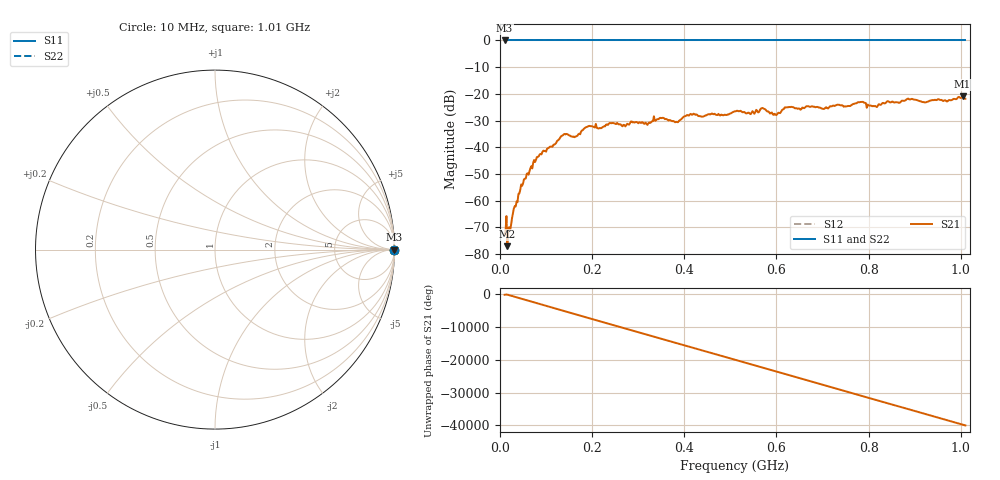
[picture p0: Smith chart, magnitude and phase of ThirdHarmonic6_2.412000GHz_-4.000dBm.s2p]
! 8/17/2025 4:03:05 AM
! C:\ANRITSUVNA\TEMP\TEMP.S2P
! CHANNEL.1
! TR.MEASUREMENT
! RAW.DATA
! RF.CORRECTION.OFF
! AVERAGING.OFF
! IF.BANDWIDTH: 5KHZ
! SWEEPTYPE:  FREQ.SWEEP(Linear)
! Reference Plane Port Info
! PORT:  PORT1  PORT2
! DISTANCE:  0  m  0  m
! TIME:  0  s  0  s
! PHASE.OFFSET:  0  deg.  0  deg.
! LOSS:  0  dB  0  dB
! REF.LOSS:  0  dB  0  dB
! REF.FREQ:  0  Hz  0  Hz
! Power Info
! POWER:  -20  dBm  -20  dBm
! EFF.POWER:  -20  dBm  -20  dBm
! SOURCE.ATTEN:  0  dB  0  dB
! TEST.ATTEN:  0  dB  0  dB
# GHZ S RI R 50.0
! FREQ.GHZ  S11RE  S11IM  S21RE  S21IM  S12RE  S12IM  S22RE  S22IM
!; PortSelection: Port_12
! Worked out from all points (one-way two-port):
!   501 points, 10 MHz to 1.01 GHz, reference 50 ohm
!   highest |S21| = -20.94 dB at 1.004 GHz (marker M1); lowest = -77.1 dB at 16 MHz (marker M2)
!   lowest |S11| = 0.0 dB at 10 MHz (marker M3)
!   |S11| at or under -10 dB: nowhere
!   |S22| runs from 0.0 to 0.0 dB; largest |S21 - S12| = 1.1
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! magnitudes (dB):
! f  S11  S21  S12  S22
! 10 MHz  0.0  -72.8  0.0  0.0
! 16 MHz  0.0  -77.1  0.0  0.0
! 20 MHz  0.0  -70.0  0.0  0.0
! 32 MHz  0.0  -62.1  0.0  0.0
! 48 MHz  0.0  -54.4  0.0  0.0
! 76 MHz  0.0  -45.5  0.0  0.0
! 136 MHz  0.0  -35.6  0.0  0.0
! 162 MHz  0.0  -36.2  0.0  0.0
! 178 MHz  0.0  -33.7  0.0  0.0
! 344 MHz  0.0  -29.5  0.0  0.0
! 384 MHz  0.0  -30.6  0.0  0.0
! 416 MHz  0.0  -27.8  0.0  0.0
! 510 MHz  0.0  -26.5  0.0  0.0
! 570 MHz  0.0  -25.3  0.0  0.0
! 596 MHz  0.0  -27.5  0.0  0.0
! 622 MHz  0.0  -25.0  0.0  0.0
! 678 MHz  0.0  -24.7  0.0  0.0
! 784 MHz  0.0  -23.0  0.0  0.0
! 814 MHz  0.0  -24.5  0.0  0.0
! 844 MHz  0.0  -22.9  0.0  0.0
! 1.004 GHz  0.0  -20.9  0.0  0.0
! 1.01 GHz  0.0  -21.8  0.0  0.0
